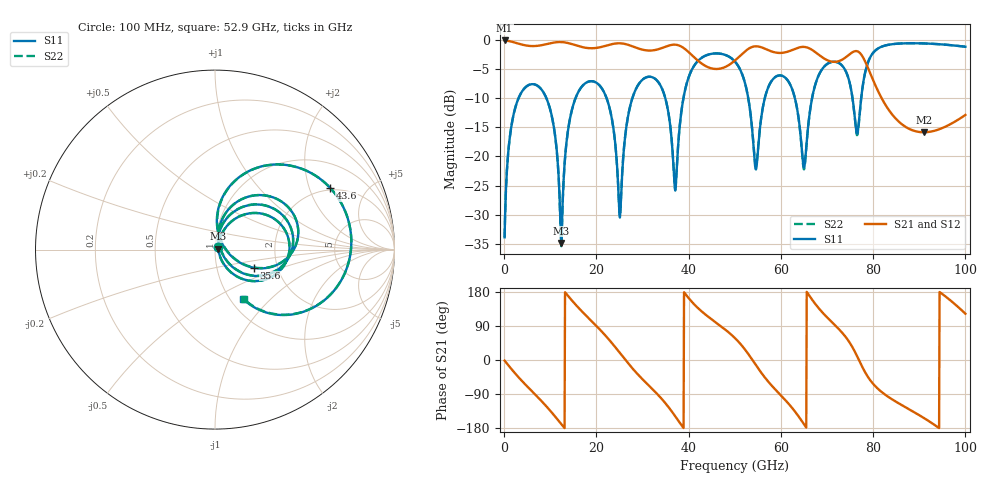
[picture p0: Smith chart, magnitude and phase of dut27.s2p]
! Touchstone file exported from HFSS 2026.1.0
!  File:  C:/ffzhzh/LocalFiles/Ansys_Project_Files/temp_train_TSV_RDL_27_1783440423_7600.aedt
!  Generated:  12:19:50 AM Jul  8, 2026
!  Design:  TSV_RDL
!  Project:  temp_train_TSV_RDL_27_1783440423_7600
! Variables:
!  h_bsmrdl = 4.89um
!  h_ox = 20um
!  h_rdl = 5um
!  h_sub = 88.29um
!  h_tmrdl = 4.99um
!  h_tsv = 88.29um
!  h_via = 3um
!  l_bsmrdl = 338um
!  l_sub = 4316.52um
!  l_tmrdl = 697.82um
!  m_sub = 200um
!  pitch = 45.37um
!  r_tsv = 14.24um
!  s_tmrdl = 10um
!  w_bsmrdl = 16.71um
!  w_sub = 500um
!  w_tmrdl = 20.37um
!  x_tsv_center1 = 708.005um
!  x_tsv_center2 = 1062.715um
!  x_tsv_center3 = 1780.905um
!  x_tsv_center4 = 2135.615um
!  x_tsv_center5 = 2853.805um
!  x_tsv_center6 = 3208.515um
# GHz S MA R 50.000000
! Terminal data exported
! Port[1] = TM_RDL1_1_T1
! Port[2] = TM_RDL5_1_T1
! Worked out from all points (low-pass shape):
!   1000 points, 100 MHz to 100 GHz, reference 50 ohm
!   highest |S21| = -0.13 dB at 100 MHz (marker M1); lowest = -15.9 dB at 91 GHz (marker M2)
!   |S21| within 3 dB of the highest: start of sweep to 41.35 GHz; 50.65 GHz to 69.17 GHz (18.52 GHz wide, 30.9 % of centre) (the widest 2 of 3)
!   lowest |S11| = -34.9 dB at 12.4 GHz (marker M3), VSWR 1.04, Z = 51.7 + j0.581 ohm
!   |S11| at or under -10 dB: 9.145 GHz to 15.49 GHz (6.346 GHz wide, 51.5 % of centre); 22.2 GHz to 27.81 GHz (5.613 GHz wide, 22.4 % of centre); 34.93 GHz to 38.88 GHz (3.948 GHz wide, 10.7 % of centre) (the widest 3 of 7)
!   |S22| runs from -35.4 to -0.6 dB; largest |S21 - S12| = 2.4e-13
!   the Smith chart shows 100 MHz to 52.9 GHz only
!   S11 on the Smith chart (normalised r, x): 100 MHz: 1.03, +0.03; 35.6 GHz: 1.51, -0.32; 43.6 GHz: 1.90, +2.79; 52.9 GHz: 1.15, -0.71
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0.1  0.02022 39.6  0.9847 -1.6  0.9847 -1.6  0.02022 39.6
! Gamma 0 0 0 0
! Port Impedance 50 0 50 0
2  0.2241 54.5  0.9527 -30.0  0.9527 -30.0  0.2241 54.5
6  0.4155 5.2  0.8814 -82.1  0.8814 -82.1  0.4155 5.1
10.2  0.2331 -45.7  0.9351 -136.8  0.9351 -136.8  0.233 -45.9
12.4  0.01805 18.1  0.9539 -169.3  0.9539 -169.3  0.01698 18.6
16.8  0.3943 36.0  0.8662 129.0  0.8662 129.0  0.3942 36.3
25.7  0.08403 76.9  0.9265 9.1  0.9265 9.1  0.08454 76.4
33.4  0.4342 -1.1  0.8277 -92.5  0.8277 -92.5  0.4343 -0.9
35.6  0.238 -25.1  0.8876 -123.7  0.8876 -123.7  0.2382 -24.6
37.1  0.05084 30.9  0.9061 -148.6  0.9061 -148.6  0.05282 31.0
43.6  0.7279 28.2  0.5967 120.4  0.5967 120.4  0.7281 28.2
50.1  0.6449 -29.2  0.6665 57.1  0.6665 57.1  0.6451 -29.0
52.9  0.3188 -60.2  0.832 16.4  0.832 16.4  0.3196 -59.5
54.6  0.0771 -8.4  0.8778 -13.7  0.8778 -13.7  0.08139 -8.6
59.8  0.4939 -1.4  0.7692 -90.9  0.7692 -90.9  0.4943 -1.8
65  0.07997 7.4  0.8673 -169.3  0.8673 -169.3  0.07725 7.1
66.7  0.3067 55.2  0.8203 160.4  0.8203 160.4  0.306 55.5
71.7  0.6468 2.1  0.6453 92.1  0.6453 92.1  0.6466 2.0
76.5  0.1564 2.6  0.7968 10.5  0.7968 10.5  0.1518 2.4
83.4  0.9054 -13.0  0.2495 -98.2  0.2495 -98.2  0.9054 -12.9
91  0.9287 -63.2  0.1608 -153.0  0.1608 -153.0  0.9287 -63.2
100  0.8704 -145.3  0.2266 122.2  0.2266 122.2  0.8704 -145.5
